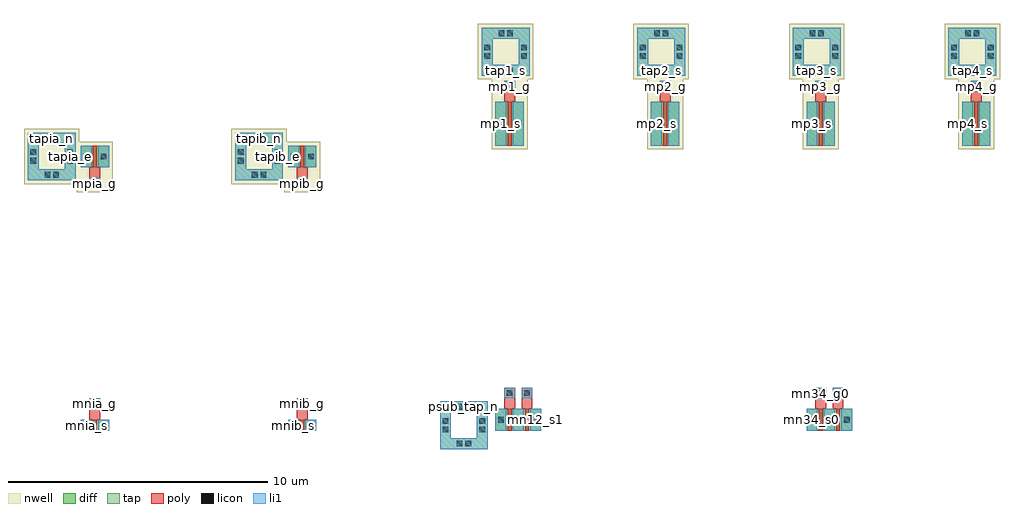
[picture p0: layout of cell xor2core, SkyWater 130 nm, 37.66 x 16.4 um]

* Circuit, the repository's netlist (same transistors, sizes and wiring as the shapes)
* extracted by klt extract --deck sky130

* cell xor2core
* pin mn12_g0
* pin mn12_g1
* pin mn12_s0
* pin mn12_s1
* pin mn34_g0
* pin mn34_g1
* pin mn34_s0
* pin mn34_s1
* pin mnia_d
* pin mnia_g
* pin mnia_s
* pin mnib_d
* pin mnib_g
* pin mnib_s
* pin mp1_d
* pin mp1_g
* pin mp1_s
* pin mp2_d
* pin mp2_g
* pin mp2_s
* pin mp3_d
* pin mp3_g
* pin mp3_s
* pin mp4_d
* pin mp4_g
* pin mp4_s
* pin mpia_d
* pin mpia_g
* pin mpia_s
* pin mpib_d
* pin mpib_g
* pin mpib_s
* pin psub_tap_n
* pin tap1_s
* pin tap2_s
* pin tap3_s
* pin tap4_s
* pin tapia_e,tapia_n
* pin tapib_e,tapib_n
.SUBCKT xor2core mn12_g0 mn12_g1 mn12_s0 mn12_s1 mn34_g0 mn34_g1 mn34_s0
+ mn34_s1 mnia_d mnia_g mnia_s mnib_d mnib_g mnib_s mp1_d mp1_g mp1_s mp2_d
+ mp2_g mp2_s mp3_d mp3_g mp3_s mp4_d mp4_g mp4_s mpia_d mpia_g mpia_s mpib_d
+ mpib_g mpib_s psub_tap_n tap1_s tap2_s tap3_s tap4_s tapia_e|tapia_n
+ tapib_e|tapib_n
* device instance $1 r0 *1 0.545,0.21 nfet
M$1 mnia_d mnia_g mnia_s psub_tap_n nfet L=0.15U W=0.42U AS=0.1974P AD=0.1974P
+ PS=1.78U PD=1.78U
* device instance $2 r0 *1 8.545,0.21 nfet
M$2 mnib_d mnib_g mnib_s psub_tap_n nfet L=0.15U W=0.42U AS=0.1974P AD=0.1974P
+ PS=1.78U PD=1.78U
* device instance $3 r0 *1 16.545,0.42 nfet
M$3 \$13 mn12_g0 mn12_s0 psub_tap_n nfet L=0.15U W=0.84U AS=0.3948P AD=0.2184P
+ PS=2.62U PD=1.36U
* device instance $4 r0 *1 17.215,0.42 nfet
M$4 mn12_s1 mn12_g1 \$13 psub_tap_n nfet L=0.15U W=0.84U AS=0.2184P AD=0.3948P
+ PS=1.36U PD=2.62U
* device instance $5 r0 *1 28.545,0.42 nfet
M$5 \$16 mn34_g0 mn34_s0 psub_tap_n nfet L=0.15U W=0.84U AS=0.3948P AD=0.2184P
+ PS=2.62U PD=1.36U
* device instance $6 r0 *1 29.215,0.42 nfet
M$6 mn34_s1 mn34_g1 \$16 psub_tap_n nfet L=0.15U W=0.84U AS=0.2184P AD=0.3948P
+ PS=1.36U PD=2.62U
* device instance $7 r0 *1 0.545,10.58 pfet
M$7 mpia_d mpia_g mpia_s tapia_e|tapia_n pfet L=0.15U W=0.84U AS=0.3948P
+ AD=0.3948P PS=2.62U PD=2.62U
* device instance $8 r0 *1 8.545,10.58 pfet
M$8 mpib_d mpib_g mpib_s tapib_e|tapib_n pfet L=0.15U W=0.84U AS=0.3948P
+ AD=0.3948P PS=2.62U PD=2.62U
* device instance $9 r0 *1 16.545,11.84 pfet
M$9 mp1_d mp1_g mp1_s tap1_s pfet L=0.15U W=1.68U AS=0.7896P AD=0.7896P PS=4.3U
+ PD=4.3U
* device instance $10 r0 *1 22.545,11.84 pfet
M$10 mp2_d mp2_g mp2_s tap2_s pfet L=0.15U W=1.68U AS=0.7896P AD=0.7896P
+ PS=4.3U PD=4.3U
* device instance $11 r0 *1 28.545,11.84 pfet
M$11 mp3_d mp3_g mp3_s tap3_s pfet L=0.15U W=1.68U AS=0.7896P AD=0.7896P
+ PS=4.3U PD=4.3U
* device instance $12 r0 *1 34.545,11.84 pfet
M$12 mp4_d mp4_g mp4_s tap4_s pfet L=0.15U W=1.68U AS=0.7896P AD=0.7896P
+ PS=4.3U PD=4.3U
.ENDS xor2core

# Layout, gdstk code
import gdstk
lib = gdstk.Library(unit=1e-6, precision=1e-09)
def R(c, l, rs):  # rectangles x0, y0, x1, y1
    for r in rs: c.add(gdstk.rectangle(r[:2], r[2:], *l))
def A(c, l, x, y, w, h, nx, ny, dx, dy):  # array of equal rectangles
    R(c, l, [(x+i*dx, y+j*dy, x+i*dx+w, y+j*dy+h) for i in range(nx) for j in range(ny)])
def P(c, l, *ps):  # polygons
    for p in ps: c.add(gdstk.Polygon(p, *l))
nwell = (64, 20)
diff = (65, 20)
tap = (65, 44)
poly = (66, 20)
licon = (66, 44)
li1 = (67, 20)

mos_array = lib.new_cell('mos_array')
R(mos_array, diff, [(0,0,1.09,0.42)])
R(mos_array, poly, [(0.47,0,0.62,0.42), (0.335,0.42,0.755,1.24)])
R(mos_array, licon, [(0.1,0.1,0.32,0.32), (0.77,0.1,0.99,0.32), (0.435,0.92,0.655,1.14)])
R(mos_array, li1, [(0,0,0.42,0.42), (0.67,0,1.09,0.42), (0.335,0.82,0.755,1.24)])

mnia__mnia = lib.new_cell('mnia__mnia')
mnia__mnia.add(gdstk.Reference(mos_array, (0,0)))

mos_array_1 = lib.new_cell('mos_array$1')
R(mos_array_1, nwell, [(-0.15,-0.15,1.24,1.81)])
R(mos_array_1, diff, [(0,0,1.09,0.84)])
R(mos_array_1, poly, [(0.47,0,0.62,0.84), (0.335,0.84,0.755,1.66)])
R(mos_array_1, licon, [(0.1,0.31,0.32,0.53), (0.77,0.31,0.99,0.53), (0.435,1.34,0.655,1.56)])
R(mos_array_1, li1, [(0,0,0.42,0.84), (0.67,0,1.09,0.84), (0.335,1.24,0.755,1.66)])

mpia__mpia = lib.new_cell('mpia__mpia')
mpia__mpia.add(gdstk.Reference(mos_array_1, (0,0)))

guard_ring = lib.new_cell('guard_ring')
R(guard_ring, nwell, [(-0.15,-0.15,1.99,1.99)])
P(guard_ring, tap, [(0,0),(0,1.42),(0.42,1.42),(0.42,0.42),(1.42,0.42),(1.42,1.42),(0,1.42),(0,1.84),(1.84,1.84),(1.84,0)])
R(guard_ring, licon, [(0.643,0.1,0.863,0.32), (0.977,0.1,1.197,0.32), (0.1,0.643,0.32,0.863), (1.52,0.643,1.74,0.863), (0.1,0.977,0.32,1.197), (1.52,0.977,1.74,1.197), (0.643,1.52,0.863,1.74), (0.977,1.52,1.197,1.74)])
P(guard_ring, li1, [(0,0),(0,1.42),(0.42,1.42),(0.42,0.42),(1.42,0.42),(1.42,1.42),(0,1.42),(0,1.84),(1.84,1.84),(1.84,0)])

tapia__tapia = lib.new_cell('tapia__tapia')
tapia__tapia.add(gdstk.Reference(guard_ring, (0,0)))

mos_array_2 = lib.new_cell('mos_array$2')
R(mos_array_2, diff, [(0,0,1.09,0.42)])
R(mos_array_2, poly, [(0.47,0,0.62,0.42), (0.335,0.42,0.755,1.24)])
R(mos_array_2, licon, [(0.1,0.1,0.32,0.32), (0.77,0.1,0.99,0.32), (0.435,0.92,0.655,1.14)])
R(mos_array_2, li1, [(0,0,0.42,0.42), (0.67,0,1.09,0.42), (0.335,0.82,0.755,1.24)])

mnib__mnib = lib.new_cell('mnib__mnib')
mnib__mnib.add(gdstk.Reference(mos_array_2, (0,0)))

mos_array_3 = lib.new_cell('mos_array$3')
R(mos_array_3, nwell, [(-0.15,-0.15,1.24,1.81)])
R(mos_array_3, diff, [(0,0,1.09,0.84)])
R(mos_array_3, poly, [(0.47,0,0.62,0.84), (0.335,0.84,0.755,1.66)])
R(mos_array_3, licon, [(0.1,0.31,0.32,0.53), (0.77,0.31,0.99,0.53), (0.435,1.34,0.655,1.56)])
R(mos_array_3, li1, [(0,0,0.42,0.84), (0.67,0,1.09,0.84), (0.335,1.24,0.755,1.66)])

mpib__mpib = lib.new_cell('mpib__mpib')
mpib__mpib.add(gdstk.Reference(mos_array_3, (0,0)))

guard_ring_1 = lib.new_cell('guard_ring$1')
R(guard_ring_1, nwell, [(-0.15,-0.15,1.99,1.99)])
P(guard_ring_1, tap, [(0,0),(0,1.42),(0.42,1.42),(0.42,0.42),(1.42,0.42),(1.42,1.42),(0,1.42),(0,1.84),(1.84,1.84),(1.84,0)])
R(guard_ring_1, licon, [(0.643,0.1,0.863,0.32), (0.977,0.1,1.197,0.32), (0.1,0.643,0.32,0.863), (1.52,0.643,1.74,0.863), (0.1,0.977,0.32,1.197), (1.52,0.977,1.74,1.197), (0.643,1.52,0.863,1.74), (0.977,1.52,1.197,1.74)])
P(guard_ring_1, li1, [(0,0),(0,1.42),(0.42,1.42),(0.42,0.42),(1.42,0.42),(1.42,1.42),(0,1.42),(0,1.84),(1.84,1.84),(1.84,0)])

tapib__tapib = lib.new_cell('tapib__tapib')
tapib__tapib.add(gdstk.Reference(guard_ring_1, (0,0)))

mos_array_4 = lib.new_cell('mos_array$4')
R(mos_array_4, diff, [(0,0,1.76,0.84)])
R(mos_array_4, poly, [(0.47,0,0.62,0.84), (1.14,0,1.29,0.84), (0.335,0.84,0.755,1.66), (1.005,0.84,1.425,1.66)])
A(mos_array_4, licon, 0.1, 0.31, 0.22, 0.22, 3, 1, 0.67, 0)
R(mos_array_4, licon, [(0.435,1.34,0.655,1.56), (1.105,1.34,1.325,1.56)])
A(mos_array_4, li1, 0, 0, 0.42, 0.84, 3, 1, 0.67, 0)
R(mos_array_4, li1, [(0.335,1.24,0.755,1.66), (1.005,1.24,1.425,1.66)])

mn12__mn12 = lib.new_cell('mn12__mn12')
mn12__mn12.add(gdstk.Reference(mos_array_4, (0,0)))

mos_array_5 = lib.new_cell('mos_array$5')
R(mos_array_5, diff, [(0,0,1.76,0.84)])
R(mos_array_5, poly, [(0.47,0,0.62,0.84), (1.14,0,1.29,0.84), (0.335,0.84,0.755,1.66), (1.005,0.84,1.425,1.66)])
A(mos_array_5, licon, 0.1, 0.31, 0.22, 0.22, 3, 1, 0.67, 0)
R(mos_array_5, licon, [(0.435,1.34,0.655,1.56), (1.105,1.34,1.325,1.56)])
A(mos_array_5, li1, 0, 0, 0.42, 0.84, 3, 1, 0.67, 0)
R(mos_array_5, li1, [(0.335,1.24,0.755,1.66), (1.005,1.24,1.425,1.66)])

mn34__mn34 = lib.new_cell('mn34__mn34')
mn34__mn34.add(gdstk.Reference(mos_array_5, (0,0)))

guard_ring_2 = lib.new_cell('guard_ring$2')
P(guard_ring_2, tap, [(0,0),(0,1.42),(0.42,1.42),(0.42,0.42),(1.42,0.42),(1.42,1.42),(0,1.42),(0,1.84),(1.84,1.84),(1.84,0)])
R(guard_ring_2, licon, [(0.643,0.1,0.863,0.32), (0.977,0.1,1.197,0.32), (0.1,0.643,0.32,0.863), (1.52,0.643,1.74,0.863), (0.1,0.977,0.32,1.197), (1.52,0.977,1.74,1.197), (0.643,1.52,0.863,1.74), (0.977,1.52,1.197,1.74)])
P(guard_ring_2, li1, [(0,0),(0,1.42),(0.42,1.42),(0.42,0.42),(1.42,0.42),(1.42,1.42),(0,1.42),(0,1.84),(1.84,1.84),(1.84,0)])

psub_tap__psub_tap = lib.new_cell('psub_tap__psub_tap')
psub_tap__psub_tap.add(gdstk.Reference(guard_ring_2, (0,0)))

mos_array_6 = lib.new_cell('mos_array$6')
R(mos_array_6, nwell, [(-0.15,-0.15,1.24,2.65)])
R(mos_array_6, diff, [(0,0,1.09,1.68)])
R(mos_array_6, poly, [(0.47,0,0.62,1.68), (0.335,1.68,0.755,2.5)])
R(mos_array_6, licon, [(0.1,0.73,0.32,0.95), (0.77,0.73,0.99,0.95), (0.435,2.18,0.655,2.4)])
R(mos_array_6, li1, [(0,0,0.42,1.68), (0.67,0,1.09,1.68), (0.335,2.08,0.755,2.5)])

mp1__mp1 = lib.new_cell('mp1__mp1')
mp1__mp1.add(gdstk.Reference(mos_array_6, (0,0)))

guard_ring_3 = lib.new_cell('guard_ring$3')
R(guard_ring_3, nwell, [(-0.15,-0.15,1.99,1.99)])
P(guard_ring_3, tap, [(0,0),(0,1.42),(0.42,1.42),(0.42,0.42),(1.42,0.42),(1.42,1.42),(0,1.42),(0,1.84),(1.84,1.84),(1.84,0)])
R(guard_ring_3, licon, [(0.643,0.1,0.863,0.32), (0.977,0.1,1.197,0.32), (0.1,0.643,0.32,0.863), (1.52,0.643,1.74,0.863), (0.1,0.977,0.32,1.197), (1.52,0.977,1.74,1.197), (0.643,1.52,0.863,1.74), (0.977,1.52,1.197,1.74)])
P(guard_ring_3, li1, [(0,0),(0,1.42),(0.42,1.42),(0.42,0.42),(1.42,0.42),(1.42,1.42),(0,1.42),(0,1.84),(1.84,1.84),(1.84,0)])

tap1__tap1 = lib.new_cell('tap1__tap1')
tap1__tap1.add(gdstk.Reference(guard_ring_3, (0,0)))

mos_array_7 = lib.new_cell('mos_array$7')
R(mos_array_7, nwell, [(-0.15,-0.15,1.24,2.65)])
R(mos_array_7, diff, [(0,0,1.09,1.68)])
R(mos_array_7, poly, [(0.47,0,0.62,1.68), (0.335,1.68,0.755,2.5)])
R(mos_array_7, licon, [(0.1,0.73,0.32,0.95), (0.77,0.73,0.99,0.95), (0.435,2.18,0.655,2.4)])
R(mos_array_7, li1, [(0,0,0.42,1.68), (0.67,0,1.09,1.68), (0.335,2.08,0.755,2.5)])

mp2__mp2 = lib.new_cell('mp2__mp2')
mp2__mp2.add(gdstk.Reference(mos_array_7, (0,0)))

guard_ring_4 = lib.new_cell('guard_ring$4')
R(guard_ring_4, nwell, [(-0.15,-0.15,1.99,1.99)])
P(guard_ring_4, tap, [(0,0),(0,1.42),(0.42,1.42),(0.42,0.42),(1.42,0.42),(1.42,1.42),(0,1.42),(0,1.84),(1.84,1.84),(1.84,0)])
R(guard_ring_4, licon, [(0.643,0.1,0.863,0.32), (0.977,0.1,1.197,0.32), (0.1,0.643,0.32,0.863), (1.52,0.643,1.74,0.863), (0.1,0.977,0.32,1.197), (1.52,0.977,1.74,1.197), (0.643,1.52,0.863,1.74), (0.977,1.52,1.197,1.74)])
P(guard_ring_4, li1, [(0,0),(0,1.42),(0.42,1.42),(0.42,0.42),(1.42,0.42),(1.42,1.42),(0,1.42),(0,1.84),(1.84,1.84),(1.84,0)])

tap2__tap2 = lib.new_cell('tap2__tap2')
tap2__tap2.add(gdstk.Reference(guard_ring_4, (0,0)))

mos_array_8 = lib.new_cell('mos_array$8')
R(mos_array_8, nwell, [(-0.15,-0.15,1.24,2.65)])
R(mos_array_8, diff, [(0,0,1.09,1.68)])
R(mos_array_8, poly, [(0.47,0,0.62,1.68), (0.335,1.68,0.755,2.5)])
R(mos_array_8, licon, [(0.1,0.73,0.32,0.95), (0.77,0.73,0.99,0.95), (0.435,2.18,0.655,2.4)])
R(mos_array_8, li1, [(0,0,0.42,1.68), (0.67,0,1.09,1.68), (0.335,2.08,0.755,2.5)])

mp3__mp3 = lib.new_cell('mp3__mp3')
mp3__mp3.add(gdstk.Reference(mos_array_8, (0,0)))

guard_ring_5 = lib.new_cell('guard_ring$5')
R(guard_ring_5, nwell, [(-0.15,-0.15,1.99,1.99)])
P(guard_ring_5, tap, [(0,0),(0,1.42),(0.42,1.42),(0.42,0.42),(1.42,0.42),(1.42,1.42),(0,1.42),(0,1.84),(1.84,1.84),(1.84,0)])
R(guard_ring_5, licon, [(0.643,0.1,0.863,0.32), (0.977,0.1,1.197,0.32), (0.1,0.643,0.32,0.863), (1.52,0.643,1.74,0.863), (0.1,0.977,0.32,1.197), (1.52,0.977,1.74,1.197), (0.643,1.52,0.863,1.74), (0.977,1.52,1.197,1.74)])
P(guard_ring_5, li1, [(0,0),(0,1.42),(0.42,1.42),(0.42,0.42),(1.42,0.42),(1.42,1.42),(0,1.42),(0,1.84),(1.84,1.84),(1.84,0)])

tap3__tap3 = lib.new_cell('tap3__tap3')
tap3__tap3.add(gdstk.Reference(guard_ring_5, (0,0)))

mos_array_9 = lib.new_cell('mos_array$9')
R(mos_array_9, nwell, [(-0.15,-0.15,1.24,2.65)])
R(mos_array_9, diff, [(0,0,1.09,1.68)])
R(mos_array_9, poly, [(0.47,0,0.62,1.68), (0.335,1.68,0.755,2.5)])
R(mos_array_9, licon, [(0.1,0.73,0.32,0.95), (0.77,0.73,0.99,0.95), (0.435,2.18,0.655,2.4)])
R(mos_array_9, li1, [(0,0,0.42,1.68), (0.67,0,1.09,1.68), (0.335,2.08,0.755,2.5)])

mp4__mp4 = lib.new_cell('mp4__mp4')
mp4__mp4.add(gdstk.Reference(mos_array_9, (0,0)))

guard_ring_6 = lib.new_cell('guard_ring$6')
R(guard_ring_6, nwell, [(-0.15,-0.15,1.99,1.99)])
P(guard_ring_6, tap, [(0,0),(0,1.42),(0.42,1.42),(0.42,0.42),(1.42,0.42),(1.42,1.42),(0,1.42),(0,1.84),(1.84,1.84),(1.84,0)])
R(guard_ring_6, licon, [(0.643,0.1,0.863,0.32), (0.977,0.1,1.197,0.32), (0.1,0.643,0.32,0.863), (1.52,0.643,1.74,0.863), (0.1,0.977,0.32,1.197), (1.52,0.977,1.74,1.197), (0.643,1.52,0.863,1.74), (0.977,1.52,1.197,1.74)])
P(guard_ring_6, li1, [(0,0),(0,1.42),(0.42,1.42),(0.42,0.42),(1.42,0.42),(1.42,1.42),(0,1.42),(0,1.84),(1.84,1.84),(1.84,0)])

tap4__tap4 = lib.new_cell('tap4__tap4')
tap4__tap4.add(gdstk.Reference(guard_ring_6, (0,0)))

xor2core = lib.new_cell('xor2core')
xor2core.add(gdstk.Reference(mnia__mnia, (0,0)))
xor2core.add(gdstk.Reference(mpia__mpia, (0,11), x_reflection=True))
xor2core.add(gdstk.Reference(tapia__tapia, (-2.04,9.66)))
xor2core.add(gdstk.Reference(mnib__mnib, (8,0)))
xor2core.add(gdstk.Reference(mpib__mpib, (8,11), x_reflection=True))
xor2core.add(gdstk.Reference(tapib__tapib, (5.96,9.66)))
xor2core.add(gdstk.Reference(mn12__mn12, (16,0)))
xor2core.add(gdstk.Reference(mn34__mn34, (28,0)))
xor2core.add(gdstk.Reference(psub_tap__psub_tap, (13.86,-0.71)))
xor2core.add(gdstk.Reference(mp1__mp1, (16,11)))
xor2core.add(gdstk.Reference(tap1__tap1, (15.475,13.7)))
xor2core.add(gdstk.Reference(mp2__mp2, (22,11)))
xor2core.add(gdstk.Reference(tap2__tap2, (21.475,13.7)))
xor2core.add(gdstk.Reference(mp3__mp3, (28,11)))
xor2core.add(gdstk.Reference(tap3__tap3, (27.475,13.7)))
xor2core.add(gdstk.Reference(mp4__mp4, (34,11)))
xor2core.add(gdstk.Reference(tap4__tap4, (33.475,13.7)))
xor2core.add(gdstk.Label('tapia_n', (-1.12,11.29), layer=67, texttype=5))
xor2core.add(gdstk.Label('tapia_e', (-0.41,10.58), layer=67, texttype=5))
xor2core.add(gdstk.Label('tapib_n', (6.88,11.29), layer=67, texttype=5))
xor2core.add(gdstk.Label('tapib_e', (7.59,10.58), layer=67, texttype=5))
xor2core.add(gdstk.Label('tap1_s', (16.395,13.91), layer=67, texttype=5))
xor2core.add(gdstk.Label('tap2_s', (22.395,13.91), layer=67, texttype=5))
xor2core.add(gdstk.Label('tap3_s', (28.395,13.91), layer=67, texttype=5))
xor2core.add(gdstk.Label('tap4_s', (34.395,13.91), layer=67, texttype=5))
xor2core.add(gdstk.Label('mp1_s', (16.21,11.84), layer=67, texttype=5))
xor2core.add(gdstk.Label('mp2_s', (22.21,11.84), layer=67, texttype=5))
xor2core.add(gdstk.Label('mp1_d', (16.88,11.84), layer=67, texttype=5))
xor2core.add(gdstk.Label('mp2_d', (22.88,11.84), layer=67, texttype=5))
xor2core.add(gdstk.Label('mp3_s', (28.21,11.84), layer=67, texttype=5))
xor2core.add(gdstk.Label('mp4_s', (34.21,11.84), layer=67, texttype=5))
xor2core.add(gdstk.Label('mp3_d', (28.88,11.84), layer=67, texttype=5))
xor2core.add(gdstk.Label('mp4_d', (34.88,11.84), layer=67, texttype=5))
xor2core.add(gdstk.Label('mp1_g', (16.545,13.29), layer=67, texttype=5))
xor2core.add(gdstk.Label('mp2_g', (22.545,13.29), layer=67, texttype=5))
xor2core.add(gdstk.Label('mp3_g', (28.545,13.29), layer=67, texttype=5))
xor2core.add(gdstk.Label('mp4_g', (34.545,13.29), layer=67, texttype=5))
xor2core.add(gdstk.Label('psub_tap_n', (14.78,0.92), layer=67, texttype=5))
xor2core.add(gdstk.Label('mnia_s', (0.21,0.21), layer=67, texttype=5))
xor2core.add(gdstk.Label('mnib_s', (8.21,0.21), layer=67, texttype=5))
xor2core.add(gdstk.Label('mnia_g', (0.545,1.03), layer=67, texttype=5))
xor2core.add(gdstk.Label('mnib_g', (8.545,1.03), layer=67, texttype=5))
xor2core.add(gdstk.Label('mnia_d', (0.88,0.21), layer=67, texttype=5))
xor2core.add(gdstk.Label('mnib_d', (8.88,0.21), layer=67, texttype=5))
xor2core.add(gdstk.Label('mpia_g', (0.545,9.55), layer=67, texttype=5))
xor2core.add(gdstk.Label('mpib_g', (8.545,9.55), layer=67, texttype=5))
xor2core.add(gdstk.Label('mpia_d', (0.88,10.58), layer=67, texttype=5))
xor2core.add(gdstk.Label('mpib_d', (8.88,10.58), layer=67, texttype=5))
xor2core.add(gdstk.Label('mpia_s', (0.21,10.58), layer=67, texttype=5))
xor2core.add(gdstk.Label('mpib_s', (8.21,10.58), layer=67, texttype=5))
xor2core.add(gdstk.Label('mn12_s0', (16.21,0.42), layer=67, texttype=5))
xor2core.add(gdstk.Label('mn12_s1', (17.55,0.42), layer=67, texttype=5))
xor2core.add(gdstk.Label('mn12_g0', (16.545,1.45), layer=67, texttype=5))
xor2core.add(gdstk.Label('mn12_g1', (17.215,1.45), layer=67, texttype=5))
xor2core.add(gdstk.Label('mn34_s0', (28.21,0.42), layer=67, texttype=5))
xor2core.add(gdstk.Label('mn34_s1', (29.55,0.42), layer=67, texttype=5))
xor2core.add(gdstk.Label('mn34_g0', (28.545,1.45), layer=67, texttype=5))
xor2core.add(gdstk.Label('mn34_g1', (29.215,1.45), layer=67, texttype=5))

lib.write_gds('xor2core.gds')
